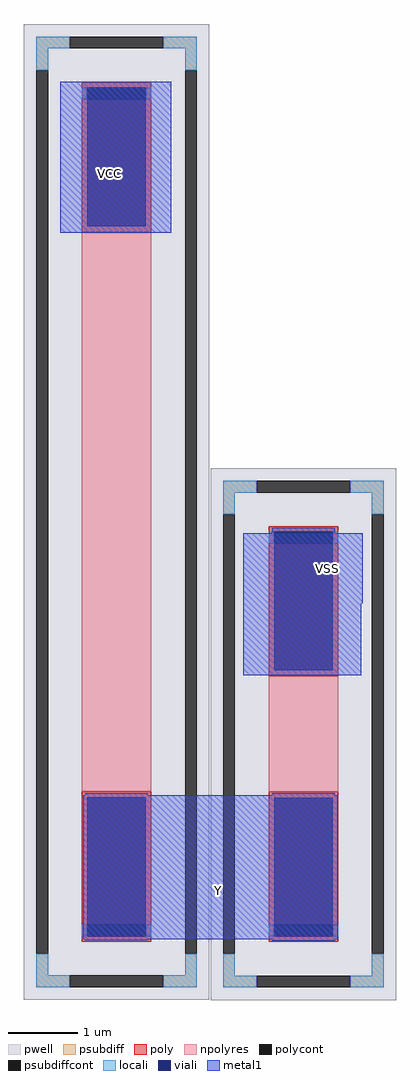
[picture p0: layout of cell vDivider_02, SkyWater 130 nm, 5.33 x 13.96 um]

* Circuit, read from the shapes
.subckt vDivider_02 VCC VSS Y
R1 VCC Y sky130_fd_pr__res_generic_po w=1 l=8
R2 VSS Y sky130_fd_pr__res_generic_po w=1 l=1.65
.ends

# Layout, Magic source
magic
tech sky130B
magscale 1 2
<< metal1 >>
rect 52 2742 370 3174
rect 576 1682 918 1882
rect 576 1476 914 1682
rect 118 720 846 1132
use sky130_fd_pr__res_generic_po_4WEV9M  R1
transform 1 0 748 0 1 1307
box -266 -761 266 761
use sky130_fd_pr__res_generic_po_FHUZEF  R3
transform 1 0 213 0 1 1943
box -266 -1396 266 1396
<< labels >>
flabel metal1 718 1682 918 1882 0 FreeSans 256 0 0 0 VSS
port 1 nsew
flabel metal1 404 758 604 958 0 FreeSans 256 0 0 0 Y
port 2 nsew
flabel metal1 92 2812 292 3012 0 FreeSans 256 0 0 0 VCC
port 0 nsew
<< end >>

# cell sky130_fd_pr__res_generic_po_4WEV9M: kit device sky130_fd_pr__res_generic_po, w 1.0 l 1.650 m 1 nx 1 wmin 0.330 lmin 1.650 rho 48.2 val 48.2 dummy 0 dw 0.0 term 0.0 sterm 0.0 caplen 0.4 snake 0 guard 1 glc 1 grc 1 gtc 1 gbc 1 roverlap 0 endcov 100 full_metal 1 hv_guard 0 n_guard 0 vias 1 viagb 0 viagt 0 viagl 0 viagr 0

# cell sky130_fd_pr__res_generic_po_FHUZEF: kit device sky130_fd_pr__res_generic_po, w 1.0 l 8.0 m 1 nx 1 wmin 0.330 lmin 1.650 rho 48.2 val 385.6 dummy 0 dw 0.0 term 0.0 sterm 0.0 caplen 0.4 snake 0 guard 1 glc 1 grc 1 gtc 1 gbc 1 roverlap 0 endcov 100 full_metal 1 hv_guard 0 n_guard 0 vias 1 viagb 0 viagt 0 viagl 0 viagr 0
